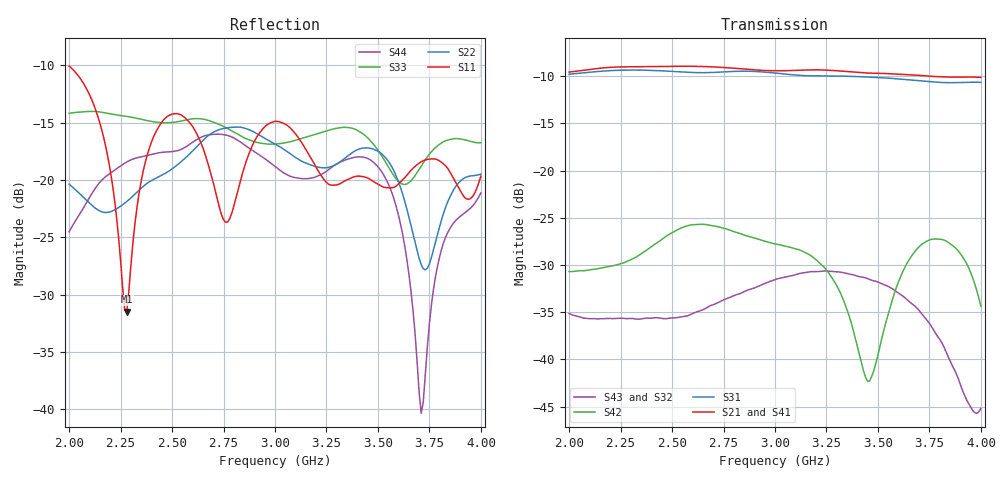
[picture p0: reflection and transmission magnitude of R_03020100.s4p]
!Agilent Technologies,N5224A,MY51441093,A.09.90.21
!Agilent N5224A: A.09.90.21
!Date: Friday, December 19, 2025 16:47:27
!Correction: S11(Full 4 Port(1,2,3,4))
!S12(Full 4 Port(1,2,3,4))
!S13(Full 4 Port(1,2,3,4))
!S14(Full 4 Port(1,2,3,4))
!S21(Full 4 Port(1,2,3,4))
!S22(Full 4 Port(1,2,3,4))
!S23(Full 4 Port(1,2,3,4))
!S24(Full 4 Port(1,2,3,4))
!S31(Full 4 Port(1,2,3,4))
!S32(Full 4 Port(1,2,3,4))
!S33(Full 4 Port(1,2,3,4))
!S34(Full 4 Port(1,2,3,4))
!S41(Full 4 Port(1,2,3,4))
!S42(Full 4 Port(1,2,3,4))
!S43(Full 4 Port(1,2,3,4))
!S44(Full 4 Port(1,2,3,4))
!S4P File: Measurements: <S11,S12,S13,S14>,
!<S21,S22,S23,S24>,
!<S31,S32,S33,S34>,
!<S41,S42,S43,S44>:
# Hz S  dB  R 50
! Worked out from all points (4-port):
!   201 points, 2 GHz to 4 GHz, reference 50 ohm
!   strongest paths, dB at 2 GHz, 2.5 GHz, 3 GHz, 3.5 GHz, 4 GHz:
!     S21: -9.6, -9.0, -9.4, -9.7, -10.1
!     S41: -9.5, -9.1, -9.5, -9.8, -10.4
!     S31: -9.8, -9.5, -9.7, -10.1, -10.7
!     S42: -30.7, -26.6, -27.8, -39.5, -34.4
!     S43: -35.1, -35.6, -31.5, -31.8, -45.2
!     S32: -35.1, -35.6, -31.5, -31.8, -44.8
!   lowest |S11| = -31.5 dB at 2.28 GHz (marker M1), VSWR 1.05, Z = 49.3 + j2.57 ohm
!   |S11| at or under -10 dB: start of sweep to end of sweep
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2e9  -10.06 -46.3  -9.55 -73.6  -9.75 -123.4  -9.60 -95.2
     -9.58 -73.6  -20.35 109.5  -35.09 -5.1  -30.84 6.0
     -9.81 -123.2  -35.12 -4.9  -14.18 -5.2  -35.32 -26.7
     -9.48 -95.0  -30.69 6.3  -35.14 -26.7  -24.52 35.0
2.28e9  -31.48 102.9  -9.00 141.0  -9.30 93.6  -9.18 118.4
        -9.02 140.9  -21.87 -51.3  -35.68 70.5  -29.78 169.8
        -9.36 93.6  -35.71 70.7  -14.44 -96.4  -35.88 46.7
        -9.05 118.5  -29.63 170.0  -35.68 46.7  -18.42 -92.0
2.49e9  -14.32 -55.8  -8.94 33.8  -9.42 -13.2  -9.22 11.4
        -8.97 33.7  -19.15 -126.8  -35.61 -124.5  -26.86 30.4
        -9.49 -13.2  -35.66 -124.4  -14.98 -145.6  -35.81 -145.9
        -9.10 11.4  -26.71 30.5  -35.63 -146.0  -17.53 -147.0
2.9e9  -16.61 -5.8  -9.30 -172.4  -9.43 142.5  -9.49 164.3
       -9.35 -172.4  -15.83 137.1  -32.18 -117.2  -27.27 142.5
       -9.51 142.6  -32.22 -117.0  -16.65 134.1  -32.58 -141.4
       -9.40 164.5  -27.13 142.8  -32.43 -141.4  -17.52 118.5
3.48e9  -20.15 -106.2  -9.67 -97.4  -10.04 -144.5  -9.87 -122.4
        -9.70 -97.4  -17.32 68.4  -31.63 95.0  -41.20 -76.0
        -10.13 -144.2  -31.68 95.3  -16.91 51.4  -31.82 69.9
        -9.82 -122.2  -41.17 -75.8  -31.69 69.9  -18.47 36.8
3.71e9  -18.40 -123.4  -9.90 150.0  -10.42 101.8  -10.11 123.3
        -9.94 150.0  -27.37 51.8  -35.24 -112.3  -27.93 -170.2
        -10.51 102.2  -35.29 -111.9  -18.78 59.8  -35.23 -139.1
        -10.08 123.7  -27.86 -169.9  -35.09 -139.0  -40.35 35.7
4e9  -19.64 31.1  -10.09 8.5  -10.57 -40.0  -10.41 -19.4
     -10.14 8.7  -19.47 75.1  -44.71 -91.8  -34.46 13.6
     -10.67 -39.5  -44.80 -91.2  -16.74 27.1  -45.31 -126.0
     -10.38 -18.7  -34.37 14.1  -45.18 -126.2  -21.12 81.8
